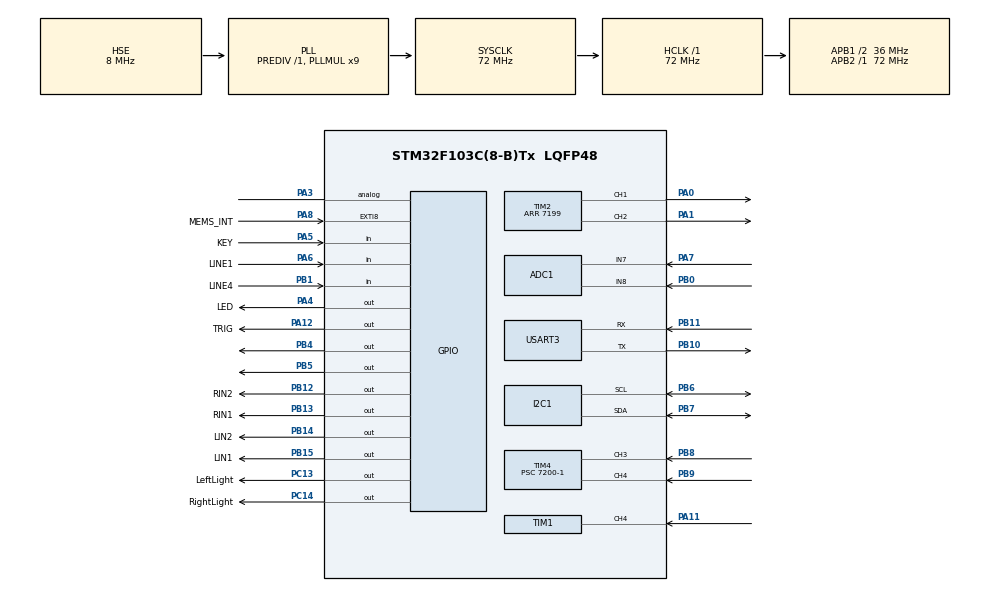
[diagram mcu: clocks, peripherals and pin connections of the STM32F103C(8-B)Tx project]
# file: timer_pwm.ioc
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ADC1.Channel-0\#ChannelRegularConversion=ADC_CHANNEL_8
ADC1.Channel-1\#ChannelRegularConversion=ADC_CHANNEL_7
ADC1.ContinuousConvMode=ENABLE
ADC1.NbrOfConversion=2
ADC1.NbrOfConversionFlag=1
ADC1.Rank-0\#ChannelRegularConversion=1
ADC1.Rank-1\#ChannelRegularConversion=2
ADC1.SamplingTime-0\#ChannelRegularConversion=ADC_SAMPLETIME_1CYCLE_5
ADC1.SamplingTime-1\#ChannelRegularConversion=ADC_SAMPLETIME_1CYCLE_5
ADC1.master=1
DMA.ADC1.0.Direction=DMA_PERIPH_TO_MEMORY
DMA.ADC1.0.Instance=DMA1_Channel1
DMA.ADC1.0.MemDataAlignment=DMA_MDATAALIGN_HALFWORD
DMA.ADC1.0.MemInc=DMA_MINC_ENABLE
DMA.ADC1.0.Mode=DMA_CIRCULAR
DMA.ADC1.0.PeriphDataAlignment=DMA_PDATAALIGN_HALFWORD
DMA.ADC1.0.PeriphInc=DMA_PINC_DISABLE
DMA.ADC1.0.Priority=DMA_PRIORITY_LOW
DMA.Request0=ADC1
DMA.RequestsNb=1
Mcu.Family=STM32F1
Mcu.Name=STM32F103C(8-B)Tx
Mcu.Package=LQFP48
NVIC.DMA1_Channel1_IRQn=true\:0\:0\:false\:false\:true\:true\:true\:true
NVIC.EXTI9_5_IRQn=true\:0\:0\:false\:false\:true\:true\:true\:true
NVIC.PriorityGroup=NVIC_PRIORITYGROUP_4
NVIC.TIM1_CC_IRQn=true\:0\:0\:false\:false\:true\:true\:true\:true
NVIC.TIM1_UP_IRQn=true\:0\:0\:false\:false\:true\:true\:true\:true
NVIC.TIM3_IRQn=true\:0\:0\:false\:false\:true\:true\:true\:true
NVIC.TIM4_IRQn=true\:0\:0\:false\:false\:true\:true\:true\:true
NVIC.USART3_IRQn=true\:0\:0\:false\:false\:true\:true\:true\:true
PA0-WKUP.Signal=S_TIM2_CH1_ETR
PA1.Signal=S_TIM2_CH2
PA11.Signal=S_TIM1_CH4
PA12.GPIO_Label=TRIG
PA12.Signal=GPIO_Output
PA13.Mode=Serial_Wire
PA13.Signal=SYS_JTMS-SWDIO
PA14.Mode=Serial_Wire
PA14.Signal=SYS_JTCK-SWCLK
PA3.Signal=GPIO_Analog
PA4.GPIO_Label=LED
PA4.Signal=GPIO_Output
PA5.GPIO_Label=KEY
PA5.Signal=GPIO_Input
PA6.GPIO_Label=LINE1
PA6.Signal=GPIO_Input
PA7.Signal=ADCx_IN7
PA8.GPIO_Label=MEMS_INT
PA8.GPIO_ModeDefaultEXTI=GPIO_MODE_IT_FALLING
PA8.Signal=GPXTI8
PB0.Signal=ADCx_IN8
PB1.GPIO_Label=LINE4
PB1.Signal=GPIO_Input
PB10.Mode=Asynchronous
PB10.Signal=USART3_TX
PB11.Mode=Asynchronous
PB11.Signal=USART3_RX
PB12.GPIO_Label=RIN2
PB12.Signal=GPIO_Output
PB13.GPIO_Label=RIN1
PB13.Signal=GPIO_Output
PB14.GPIO_Label=LIN2
PB14.Signal=GPIO_Output
PB15.GPIO_Label=LIN1
PB15.Signal=GPIO_Output
PB4.GPIO_ModeDefaultOutputPP=GPIO_MODE_OUTPUT_OD
PB4.GPIO_PuPd=GPIO_NOPULL
PB4.Signal=GPIO_Output
PB5.GPIO_ModeDefaultOutputPP=GPIO_MODE_OUTPUT_OD
PB5.GPIO_PuPd=GPIO_NOPULL
PB5.Signal=GPIO_Output
PB6.Mode=I2C
PB6.Signal=I2C1_SCL
PB7.Mode=I2C
PB7.Signal=I2C1_SDA
PB8.Signal=S_TIM4_CH3
PB9.Signal=S_TIM4_CH4
PC13-TAMPER-RTC.GPIO_Label=LeftLight
PC13-TAMPER-RTC.Signal=GPIO_Output
PC14-OSC32_IN.GPIO_Label=RightLight
PC14-OSC32_IN.Signal=GPIO_Output
PD0-OSC_IN.Mode=HSE-External-Oscillator
PD0-OSC_IN.Signal=RCC_OSC_IN
PD1-OSC_OUT.Mode=HSE-External-Oscillator
PD1-OSC_OUT.Signal=RCC_OSC_OUT
ProjectManager.HeapSize=0x200
ProjectManager.StackSize=0x400
ProjectManager.TargetToolchain=MDK-ARM V5.32
RCC.ADCPresc=RCC_ADCPCLK2_DIV6
RCC.AHBFreq_Value=72000000
RCC.APB1CLKDivider=RCC_HCLK_DIV2
RCC.APB1Freq_Value=36000000
RCC.APB1TimFreq_Value=72000000
RCC.APB2Freq_Value=72000000
RCC.APB2TimFreq_Value=72000000
RCC.HCLKFreq_Value=72000000
RCC.PLLMUL=RCC_PLL_MUL9
RCC.PLLSourceVirtual=RCC_PLLSOURCE_HSE
RCC.SYSCLKFreq_VALUE=72000000
RCC.SYSCLKSource=RCC_SYSCLKSOURCE_PLLCLK
RCC.USBFreq_Value=72000000
SH.ADCx_IN7.0=ADC1_IN7,IN7
SH.ADCx_IN8.0=ADC1_IN8,IN8
SH.S_TIM1_CH4.0=TIM1_CH4,Input_Capture4_from_TI4
SH.S_TIM2_CH1_ETR.0=TIM2_CH1,PWM Generation1 CH1
SH.S_TIM2_CH2.0=TIM2_CH2,PWM Generation2 CH2
SH.S_TIM4_CH3.0=TIM4_CH3,Input_Capture3_from_TI3
SH.S_TIM4_CH4.0=TIM4_CH4,Input_Capture4_from_TI4
TIM1.Channel-Input_Capture4_from_TI4=TIM_CHANNEL_4
TIM1.Prescaler=71
TIM2.Channel-PWM\ Generation1\ CH1=TIM_CHANNEL_1
TIM2.Channel-PWM\ Generation2\ CH2=TIM_CHANNEL_2
TIM2.Period=7199
TIM3.Period=999
TIM3.Prescaler=7199
TIM4.Channel-Input_Capture3_from_TI3=TIM_CHANNEL_3
TIM4.Channel-Input_Capture4_from_TI4=TIM_CHANNEL_4
TIM4.ClockDivision=TIM_CLOCKDIVISION_DIV4
TIM4.ICFilter_CH3=15
TIM4.ICFilter_CH4=15
TIM4.ICPolarity_CH3=TIM_INPUTCHANNELPOLARITY_FALLING
TIM4.ICPolarity_CH4=TIM_INPUTCHANNELPOLARITY_FALLING
TIM4.ICPrescaler-Input_Capture3_from_TI3=TIM_ICPSC_DIV1
TIM4.Prescaler=7200-1
USART3.VirtualMode=VM_ASYNC
VP_TIM2_VS_ClockSourceINT.Mode=Internal
VP_TIM3_VS_ClockSourceINT.Mode=Internal
VP_TIM4_VS_ClockSourceINT.Mode=Internal
board=custom

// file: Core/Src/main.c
/* USER CODE BEGIN Header */
/**
  ******************************************************************************
  * @file           : main.c
  * @brief          : PID循迹、姿态计圈与自动掉头主程序
  ******************************************************************************
  * @attention
  *
  * Copyright (c) 2026 STMicroelectronics.
  * All rights reserved.
  *
  ******************************************************************************
  */
/* USER CODE END Header */
#include "main.h"
#include "adc.h"
#include "dma.h"
#include "i2c.h"
#include "tim.h"
#include "usart.h"
#include "gpio.h"

/* USER CODE BEGIN Includes */
#include "tb6612.h"
#include "key.h"
#include "stdio.h"
#include "car_control.h"
#include "oled_driver.h"
#include "mpu6050.h"
#include "mpu6050_dmp.h"
#include "app/app_runtime.h"
/* USER CODE END Includes */

/* USER CODE BEGIN PTD */
#if 0
typedef enum
{
  ADC_ERROR_NONE = 0,
  ADC_ERROR_CALIBRATION,
  ADC_ERROR_START,
  ADC_ERROR_DMA,
  ADC_ERROR_RUNTIME
} AdcErrorState;

typedef enum
{
  MPU_ERROR_NONE = 0,
  MPU_ERROR_NOT_FOUND,
  MPU_ERROR_DMP_INIT
} MpuErrorState;

typedef enum
{
  TRACK_WAIT_START = 0,
  TRACK_CW,
  TRACK_TURN_AROUND,
  TRACK_CCW,
  TRACK_COMPLETE,
  TRACK_ERROR
} TrackingMissionState;
/* USER CODE END PTD */

/* USER CODE BEGIN PD */
#define ADC_CHANNEL_COUNT              2U
#define MPU_POLL_INTERVAL_MS          10U
#define TRACK_DISPLAY_INTERVAL_MS    200U
#define TRACK_UART_INTERVAL_MS       200U
#define TRACK_CW_TARGET_DEG        720.0f
#define TRACK_TURN_TARGET_DEG      180.0f
#define TRACK_CCW_TARGET_DEG       720.0f
#define TRACK_YAW_DIRECTION         (-1.0f)
/* USER CODE END PD */

/* USER CODE BEGIN PV */
volatile uint8_t control_tick_20ms = 0U;
volatile uint8_t mems_data_rdy_flag = 0U;
volatile uint8_t init_flag = 0U;
/* key.c 通过 extern 使用该值完成按键边沿检测。 */
uint8_t key_rval = 0U;
volatile uint16_t adc_dma_data[ADC_CHANNEL_COUNT] = {0U, 0U};
volatile AdcErrorState adc_error_state = ADC_ERROR_NONE;

static MpuErrorState mpu_error_state = MPU_ERROR_NONE;
static TrackingMissionState tracking_state = TRACK_WAIT_START;
static uint8_t adc_ready = 0U;
static uint8_t mpu_ready = 0U;
static uint8_t mpu_sample_valid = 0U;
static uint8_t tracking_yaw_valid = 0U;
static uint8_t mpu_detected_address = 0U;
static uint8_t mpu_init_result = 0xFFU;
static float Pitch = 0.0f;
static float Roll = 0.0f;
static float Yaw = 0.0f;
static float tracking_last_yaw = 0.0f;
static float tracking_last_delta = 0.0f;
static float tracking_progress = 0.0f;
static uint32_t last_mpu_poll_ms = 0U;
static uint32_t last_display_ms = 0U;
static uint32_t last_uart_ms = 0U;
/* USER CODE END PV */

void SystemClock_Config(void);
/* USER CODE BEGIN PFP */
static uint8_t Tracking_Mission_Is_Running(void);
static void Tracking_Mission_Reset(void);
static void Tracking_Mission_Start(void);
static void Tracking_Mission_Update_Yaw(float current_yaw);
static void Tracking_Mission_Process(uint8_t control_tick_due);
static const char *Tracking_State_Text(void);
static const char *Tracking_Error_Text(void);
static void OLED_Update_Tracking_Mission(void);
static void UART_Report_Tracking_Mission(void);
/* USER CODE END PFP */

/* USER CODE BEGIN 0 */
static uint8_t Tracking_Mission_Is_Running(void)
{
  return ((tracking_state == TRACK_CW) ||
          (tracking_state == TRACK_TURN_AROUND) ||
          (tracking_state == TRACK_CCW)) ? 1U : 0U;
}

/**
  * @brief  停止当前任务并回到等待状态
  * @note   USER按键停止时不会关闭ADC、DMA和MPU，便于继续观察数据。
  */
static void Tracking_Mission_Reset(void)
{
  tracking_state = TRACK_WAIT_START;
  tracking_progress = 0.0f;
  tracking_last_yaw = Yaw;
  tracking_last_delta = 0.0f;
  tracking_yaw_valid = mpu_sample_valid;
  Line_Following_PID_Reset();
  Smart_Car_Stop();
  HAL_GPIO_WritePin(LED_GPIO_Port, LED_Pin, GPIO_PIN_SET);
}

/**
  * @brief  从顺时针阶段开始完整实验任务
  */
static void Tracking_Mission_Start(void)
{
  if ((adc_error_state != ADC_ERROR_NONE) ||
      (mpu_error_state != MPU_ERROR_NONE))
  {
    tracking_state = TRACK_ERROR;
    Smart_Car_Stop();
    return;
  }

  /* 外设尚在等待第一帧数据时保持等待，不把“未就绪”误报为硬件故障。 */
  if ((adc_ready == 0U) ||
      (mpu_ready == 0U) ||
      (mpu_sample_valid == 0U))
  {
    tracking_state = TRACK_WAIT_START;
    Smart_Car_Stop();
    return;
  }

  tracking_progress = 0.0f;
  tracking_last_yaw = Yaw;
  tracking_last_delta = 0.0f;
  tracking_yaw_valid = 1U;
  /* 用启动位置的实际偏差预置PID，避免第一次控制产生突然转向。 */
  Line_Following_PID_Prime(adc_dma_data[0], adc_dma_data[1]);
  tracking_state = TRACK_CW;
  HAL_GPIO_WritePin(LED_GPIO_Port, LED_Pin, GPIO_PIN_RESET);
  printf("TRACK MISSION START: CW 2 LAPS\r\n");
}

/**
  * @brief  使用连续Yaw增量推进计圈和掉头状态
  * @param  current_yaw DMP最新Yaw，范围约为-180到+180度
  */
static void Tracking_Mission_Update_Yaw(float current_yaw)
{
  float yaw_delta;
  float stage_delta;

  if (tracking_yaw_valid == 0U)
  {
    tracking_last_yaw = current_yaw;
    tracking_yaw_valid = 1U;
    return;
  }

  yaw_delta = current_yaw - tracking_last_yaw;
  if (yaw_delta > 180.0f)
  {
    yaw_delta -= 360.0f;
  }
  else if (yaw_delta < -180.0f)
  {
    yaw_delta += 360.0f;
  }
  tracking_last_yaw = current_yaw;
  tracking_last_delta = yaw_delta;

  if ((tracking_state == TRACK_WAIT_START) ||
      (tracking_state == TRACK_COMPLETE) ||
      (tracking_state == TRACK_ERROR))
  {
    return;
  }

  stage_delta = yaw_delta * TRACK_YAW_DIRECTION;
  if (tracking_state == TRACK_CCW)
  {
    stage_delta = -stage_delta;
  }

  tracking_progress += stage_delta;
  if (tracking_progress < 0.0f)
  {
    tracking_progress = 0.0f;
  }

  if ((tracking_state == TRACK_CW) &&
      (tracking_progress >= TRACK_CW_TARGET_DEG))
  {
    Smart_Car_Stop();
    Line_Following_PID_Reset();
    tracking_state = TRACK_TURN_AROUND;
    tracking_progress = 0.0f;
    tracking_last_yaw = current_yaw;
    printf("CW COMPLETE -> TURN\r\n");
  }
  else if ((tracking_state == TRACK_TURN_AROUND) &&
           (tracking_progress >= TRACK_TURN_TARGET_DEG))
  {
    Smart_Car_Stop();
    Line_Following_PID_Reset();
    tracking_state = TRACK_CCW;
    tracking_progress = 0.0f;
    tracking_last_yaw = current_yaw;
    printf("TURN COMPLETE -> CCW\r\n");
  }
  else if ((tracking_state == TRACK_CCW) &&
           (tracking_progress >= TRACK_CCW_TARGET_DEG))
  {
    Smart_Car_Stop();
    Line_Following_PID_Reset();
    tracking_state = TRACK_COMPLETE;
    tracking_progress = TRACK_CCW_TARGET_DEG;
    HAL_GPIO_WritePin(LED_GPIO_Port, LED_Pin, GPIO_PIN_SET);
    printf("CCW COMPLETE -> DONE\r\n");
  }
}

/**
  * @brief  单一电机控制出口：PID循迹、右转掉头或停车
  * @param  control_tick_due 50ms控制节拍到达标志
  */
static void Tracking_Mission_Process(uint8_t control_tick_due)
{
  if ((adc_error_state != ADC_ERROR_NONE) ||
      (mpu_error_state != MPU_ERROR_NONE))
  {
    tracking_state = TRACK_ERROR;
  }

  switch (tracking_state)
  {
    case TRACK_CW:
    case TRACK_CCW:
      if (control_tick_due == 1U)
      {
        uint16_t left_adc = adc_dma_data[0];
        uint16_t right_adc = adc_dma_data[1];
        Line_Following_Hybrid(left_adc, right_adc);
      }
      break;

    case TRACK_TURN_AROUND:
      Smart_Car_Turn_Right();
      break;

    case TRACK_WAIT_START:
    case TRACK_COMPLETE:
    case TRACK_ERROR:
    default:
      Smart_Car_Stop();
      break;
  }
}

static const char *Tracking_State_Text(void)
{
  switch (tracking_state)
  {
    case TRACK_CW:
      return "CW";
    case TRACK_TURN_AROUND:
      return "TURN";
    case TRACK_CCW:
      return "CCW";
    case TRACK_COMPLETE:
      return "DONE";
    case TRACK_ERROR:
      return "ERR";
    case TRACK_WAIT_START:
    default:
      return "WAIT";
  }
}

static const char *Tracking_Error_Text(void)
{
  switch (adc_error_state)
  {
    case ADC_ERROR_CALIBRATION:
      return "ADC CAL ERR";
    case ADC_ERROR_START:
      return "ADC START ERR";
    case ADC_ERROR_DMA:
      return "ADC DMA ERR";
    case ADC_ERROR_RUNTIME:
      return "ADC RUN ERR";
    case ADC_ERROR_NONE:
    default:
      break;
  }

  if (mpu_error_state == MPU_ERROR_NOT_FOUND)
  {
    return "MPU NOT FOUND";
  }
  if (mpu_error_state == MPU_ERROR_DMP_INIT)
  {
    return "DMP INIT FAIL";
  }
  return "NO ERROR";
}

/**
  * @brief  低频刷新OLED；固定宽度覆盖旧内容，不在高优先级路径清屏
  */
static void OLED_Update_Tracking_Mission(void)
{
  char line[17];
  int32_t yaw_x10;
  uint32_t yaw_magnitude;
  uint32_t target_deg;
  uint32_t progress_deg;

  if (tracking_state == TRACK_ERROR)
  {
    OLED_ShowString(0, 0, "TRACK ERROR     ", 16);
    (void)snprintf(line, sizeof(line), "%-16s", Tracking_Error_Text());
    OLED_ShowString(0, 2, line, 16);
    OLED_ShowString(0, 4, "MOTOR STOP      ", 16);
    OLED_ShowString(0, 6, "CHECK WIRING    ", 16);
    return;
  }

  (void)snprintf(line, sizeof(line), "MODE:%-11s", Tracking_State_Text());
  OLED_ShowString(0, 0, line, 16);
  (void)snprintf(line, sizeof(line), "L:%4u R:%4u   ",
                 adc_dma_data[0], adc_dma_data[1]);
  OLED_ShowString(0, 2, line, 16);

  target_deg = (tracking_state == TRACK_TURN_AROUND) ?
               (uint32_t)TRACK_TURN_TARGET_DEG :
               (uint32_t)TRACK_CW_TARGET_DEG;
  progress_deg = (tracking_progress > (float)target_deg) ?
                 target_deg : (uint32_t)tracking_progress;
  (void)snprintf(line, sizeof(line), "DEG:%3lu/%3lu   ",
                 (unsigned long)progress_deg,
                 (unsigned long)target_deg);
  OLED_ShowString(0, 4, line, 16);

  yaw_x10 = (Yaw >= 0.0f) ?
            (int32_t)(Yaw * 10.0f + 0.5f) :
            (int32_t)(Yaw * 10.0f - 0.5f);
  yaw_magnitude = (yaw_x10 < 0) ?
                  (uint32_t)(-yaw_x10) : (uint32_t)yaw_x10;
  (void)snprintf(line, sizeof(line), "YAW:%c%3lu.%1lu   ",
                 (yaw_x10 < 0) ? '-' : '+',
                 (unsigned long)(yaw_magnitude / 10U),
                 (unsigned long)(yaw_magnitude % 10U));
  OLED_ShowString(0, 6, line, 16);
}

/**
  * @brief  低频串口报告，避免打印速度超过MPU FIFO消费速度
  */
static void UART_Report_Tracking_Mission(void)
{
  printf("TRACK:%s EDGE:%c L:%u R:%u PID:%ld YAW:%.2f DYAW:%.2f DEG:%.1f\r\n",
         Tracking_State_Text(),
         Line_Following_Get_Mode(),
         adc_dma_data[0],
         adc_dma_data[1],
         (long)Line_Following_PID_GetOutput(),
         Yaw,
         tracking_last_delta,
         tracking_progress);
}
/* USER CODE END 0 */
#endif

/* 新框架保留给中断和 key.c 使用的兼容符号。 */
volatile uint8_t control_tick_20ms = 0U;
uint8_t key_rval = 0U;
void SystemClock_Config(void);

int main(void)
{
  /* USER CODE BEGIN 1 */
#if 0
  uint8_t key_value;
#endif
  /* USER CODE END 1 */

  HAL_Init();
  SystemClock_Config();

  /* Initialize all configured peripherals */
  MX_GPIO_Init();
  MX_DMA_Init();
  MX_TIM2_Init();
  MX_TIM3_Init();
  MX_USART3_UART_Init();
  MX_TIM4_Init();
  MX_TIM1_Init();
  MX_I2C1_Init();
  MX_ADC1_Init();

  /* USER CODE BEGIN 2 */
  AppRuntime_Init();
#if 0
  TB6612_Init();
  Smart_Car_Stop();
  HAL_GPIO_WritePin(LED_GPIO_Port, LED_Pin, GPIO_PIN_SET);

  OLED_Init();
  OLED_Clear();
  OLED_ShowString(0, 0, "TRACK INIT      ", 16);

  /*
   * 上电诊断标记：直接调用HAL发送，不依赖printf重定向。
   * 如果串口能看到BOOT UART OK，说明USART3链路正常；OLED后续文字用于定位阻塞步骤。
   */
  HAL_UART_Transmit(&huart3,
                    (uint8_t *)"BOOT UART OK\r\n",
                    14U,
                    100U);

  /*
   * 按指导书顺序启动ADC和DMA。
   * DMA循环搬运两个Rank：左侧PB0/IN8在下标0，右侧PA7/IN7在下标1。
   */
  OLED_ShowString(0, 2, "ADC CAL         ", 16);
  if (HAL_ADCEx_Calibration_Start(&hadc1) != HAL_OK)
  {
    adc_error_state = ADC_ERROR_CALIBRATION;
    OLED_ShowString(0, 2, "ADC CAL ERROR   ", 16);
  }
  else
  {
    /* 将校准、普通启动、DMA启动逐步显示，避免多个调用共用一个模糊提示。 */
    OLED_ShowString(0, 2, "ADC CAL OK      ", 16);
    HAL_UART_Transmit(&huart3, (uint8_t *)"ADC CAL OK\r\n", 12U, 100U);

    OLED_ShowString(0, 2, "ADC START       ", 16);
    if (HAL_ADC_Start(&hadc1) != HAL_OK)
    {
      adc_error_state = ADC_ERROR_START;
      OLED_ShowString(0, 2, "ADC START ERROR ", 16);
    }
    else
    {
      OLED_ShowString(0, 2, "ADC START OK    ", 16);
      HAL_UART_Transmit(&huart3, (uint8_t *)"ADC START OK\r\n", 14U, 100U);

      OLED_ShowString(0, 2, "ADC DMA START   ", 16);

      /*
       * HAL_ADC_Start_DMA会默认打开DMA半完成和完成中断。
       * 本实验只需主循环读取循环DMA中的最新值，不使用这两个高频回调；
       * 两路、1.5周期采样会产生极密集的中断，导致主循环、按键和OLED全部饿死。
       * 因此启动期间先屏蔽NVIC，随后关闭HT/TC，只保留TE错误中断。
       */
      HAL_NVIC_DisableIRQ(DMA1_Channel1_IRQn);
      if (HAL_ADC_Start_DMA(&hadc1,
                            (uint32_t *)adc_dma_data,
                            ADC_CHANNEL_COUNT) != HAL_OK)
      {
        adc_error_state = ADC_ERROR_DMA;
        OLED_ShowString(0, 2, "ADC DMA ERROR   ", 16);
      }
      else
      {
        adc_ready = 1U;
        OLED_ShowString(0, 2, "ADC DMA OK      ", 16);
        printf("ADC DMA START OK: LEFT_IN8 RIGHT_IN7\r\n");
      }

      __HAL_DMA_DISABLE_IT(&hdma_adc1, DMA_IT_HT | DMA_IT_TC);
      HAL_NVIC_ClearPendingIRQ(DMA1_Channel1_IRQn);
      HAL_NVIC_EnableIRQ(DMA1_Channel1_IRQn);
    }
  }

  /*
   * 恢复MPU6050姿态链路：地址探测、DMP初始化、外部中断加10ms主动补读。
   * OLED和串口不放在FIFO消费路径中，防止再次出现生产快于消费的问题。
   */
  OLED_ShowString(0, 4, "MPU SCAN        ", 16);
  mpu_detected_address = MPU6050_DetectAddress();
  if (mpu_detected_address == 0U)
  {
    mpu_error_state = MPU_ERROR_NOT_FOUND;
    OLED_ShowString(0, 4, "MPU NOT FOUND   ", 16);
    printf("MPU6050 not found at 0x68 or 0x69\r\n");
  }
  else
  {
    /* DMP初始化包含上电静止校准，期间按键任务尚未启动，请保持小车不动。 */
    OLED_ShowString(0, 4, "MPU DMP CAL     ", 16);
    HAL_UART_Transmit(&huart3,
                      (uint8_t *)"MPU DMP CAL START\r\n",
                      19U,
                      100U);
    mpu_init_result = MPU6050_DMP_Init();
    if (mpu_init_result == 0U)
    {
      mpu_ready = 1U;
      init_flag = 1U;
      OLED_ShowString(0, 4, "MPU DMP OK      ", 16);
      printf("MPU6050 DMP init success at 0x%02X\r\n",
             mpu_detected_address);
    }
    else
    {
      mpu_error_state = MPU_ERROR_DMP_INIT;
      OLED_ShowString(0, 4, "MPU DMP ERROR   ", 16);
      printf("MPU6050 DMP init failed, addr:0x%02X code:%u\r\n",
             mpu_detected_address,
             mpu_init_result);
    }
  }

  if ((adc_error_state != ADC_ERROR_NONE) ||
      (mpu_error_state != MPU_ERROR_NONE))
  {
    tracking_state = TRACK_ERROR;
  }

  last_mpu_poll_ms = HAL_GetTick();
  last_display_ms = last_mpu_poll_ms;
  last_uart_ms = last_mpu_poll_ms;
  OLED_Update_Tracking_Mission();
#endif
  /* USER CODE END 2 */

  /* Infinite loop */
  /* USER CODE BEGIN WHILE */
  while (1)
  {
    AppRuntime_RunOnce();
#if 0
    uint8_t control_tick_due = 0U;
    uint32_t now_ms = HAL_GetTick();

    /*
     * 最高优先级：及时消费MPU FIFO。
     * 驱动内部会有界追读并采用较新姿态；此处不打印、不刷新OLED。
     */
    if ((mpu_ready == 1U) &&
        ((mems_data_rdy_flag == 1U) ||
         ((now_ms - last_mpu_poll_ms) >= MPU_POLL_INTERVAL_MS)))
    {
      mems_data_rdy_flag = 0U;
      last_mpu_poll_ms = now_ms;
      if (MPU6050_DMP_GetData(&Pitch, &Roll, &Yaw) == 0U)
      {
        mpu_sample_valid = 1U;
        Tracking_Mission_Update_Yaw(Yaw);
      }
    }

    /* USER按键：等待/完成时启动，运行时立即停车，错误时不掩盖故障。 */
    key_value = Key_Proc();
    if (key_value == 1U)
    {
      if (Tracking_Mission_Is_Running() == 1U)
      {
        Tracking_Mission_Reset();
        printf("TRACK MISSION STOPPED BY USER\r\n");
      }
      else if ((tracking_state == TRACK_WAIT_START) ||
               (tracking_state == TRACK_COMPLETE))
      {
        Tracking_Mission_Start();
      }
    }

    /* 原子取走一次20ms请求；阻塞后不补跑多个PID周期。 */
    __disable_irq();
    if (control_tick_20ms == 1U)
    {
      control_tick_20ms = 0U;
      control_tick_due = 1U;
    }
    __enable_irq();

    Tracking_Mission_Process(control_tick_due);

    now_ms = HAL_GetTick();
    if ((now_ms - last_display_ms) >= TRACK_DISPLAY_INTERVAL_MS)
    {
      last_display_ms = now_ms;
      OLED_Update_Tracking_Mission();
    }

    if ((now_ms - last_uart_ms) >= TRACK_UART_INTERVAL_MS)
    {
      last_uart_ms = now_ms;
      UART_Report_Tracking_Mission();
    }
#endif
    /* USER CODE END WHILE */

  }
}

void SystemClock_Config(void)
{
  RCC_OscInitTypeDef RCC_OscInitStruct = {0};
  RCC_ClkInitTypeDef RCC_ClkInitStruct = {0};
  RCC_PeriphCLKInitTypeDef PeriphClkInit = {0};

  RCC_OscInitStruct.OscillatorType = RCC_OSCILLATORTYPE_HSE;
  RCC_OscInitStruct.HSEState = RCC_HSE_ON;
  RCC_OscInitStruct.HSEPredivValue = RCC_HSE_PREDIV_DIV1;
  RCC_OscInitStruct.HSIState = RCC_HSI_ON;
  RCC_OscInitStruct.PLL.PLLState = RCC_PLL_ON;
  RCC_OscInitStruct.PLL.PLLSource = RCC_PLLSOURCE_HSE;
  RCC_OscInitStruct.PLL.PLLMUL = RCC_PLL_MUL9;
  if (HAL_RCC_OscConfig(&RCC_OscInitStruct) != HAL_OK)
  {
    Error_Handler();
  }

  RCC_ClkInitStruct.ClockType = RCC_CLOCKTYPE_HCLK|RCC_CLOCKTYPE_SYSCLK
                              |RCC_CLOCKTYPE_PCLK1|RCC_CLOCKTYPE_PCLK2;
  RCC_ClkInitStruct.SYSCLKSource = RCC_SYSCLKSOURCE_PLLCLK;
  RCC_ClkInitStruct.AHBCLKDivider = RCC_SYSCLK_DIV1;
  RCC_ClkInitStruct.APB1CLKDivider = RCC_HCLK_DIV2;
  RCC_ClkInitStruct.APB2CLKDivider = RCC_HCLK_DIV1;
  if (HAL_RCC_ClockConfig(&RCC_ClkInitStruct, FLASH_LATENCY_2) != HAL_OK)
  {
    Error_Handler();
  }

  PeriphClkInit.PeriphClockSelection = RCC_PERIPHCLK_ADC;
  PeriphClkInit.AdcClockSelection = RCC_ADCPCLK2_DIV6;
  if (HAL_RCCEx_PeriphCLKConfig(&PeriphClkInit) != HAL_OK)
  {
    Error_Handler();
  }
}

/* USER CODE BEGIN 4 */
void HAL_GPIO_EXTI_Callback(uint16_t GPIO_Pin)
{
  if (GPIO_Pin == MEMS_INT_Pin)
  {
    AppRuntime_OnMpuReady();
  }
}

/* DMA/ADC错误回调只置状态；主循环负责停车和显示，避免中断内I2C阻塞。 */
void HAL_ADC_ErrorCallback(ADC_HandleTypeDef *hadc)
{
  if (hadc->Instance == ADC1)
  {
    AppRuntime_OnAdcError();
  }
}

void HAL_TIM_PeriodElapsedCallback(TIM_HandleTypeDef *htim)
{
  AppRuntime_OnTimerPeriod(htim);
}

void HAL_TIM_IC_CaptureCallback(TIM_HandleTypeDef *htim)
{
  AppRuntime_OnTimerCapture(htim);
}

void HAL_UART_RxCpltCallback(UART_HandleTypeDef *huart)
{
  AppRuntime_OnUartReceive(huart);
}

void HAL_UART_ErrorCallback(UART_HandleTypeDef *huart)
{
  AppRuntime_OnUartError(huart);
}
/* USER CODE END 4 */

void Error_Handler(void)
{
  __disable_irq();
  while (1)
  {
  }
}

#ifdef USE_FULL_ASSERT
/**
  * @brief  Reports the name of the source file and the source line number.
  */
void assert_failed(uint8_t *file, uint32_t line)
{
  /* USER CODE BEGIN 6 */
  (void)file;
  (void)line;
  /* USER CODE END 6 */
}
#endif
